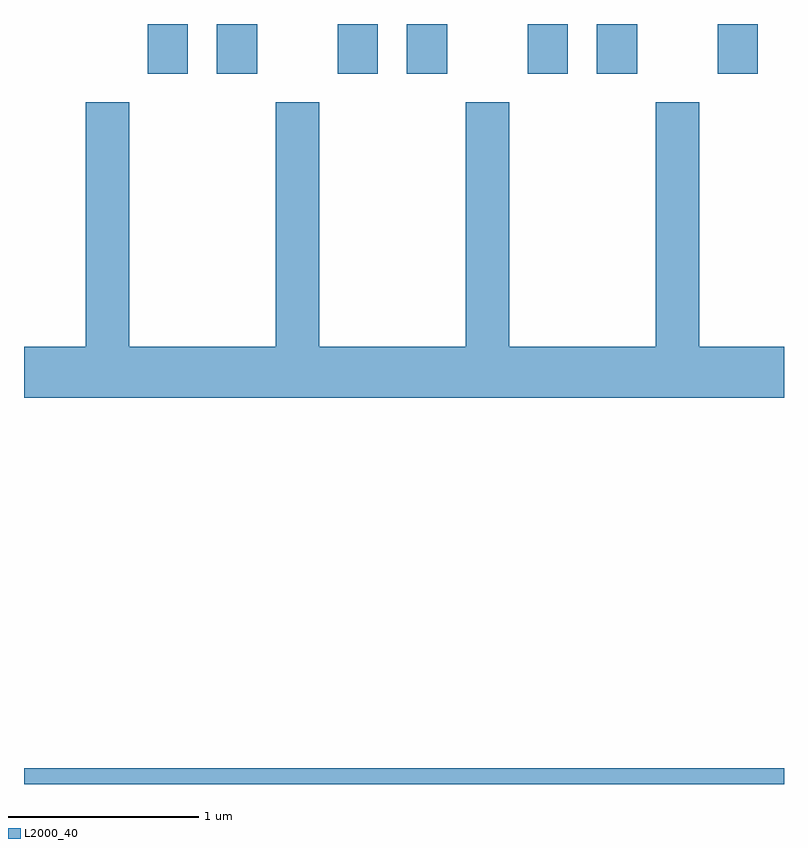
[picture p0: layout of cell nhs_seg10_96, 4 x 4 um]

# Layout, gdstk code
import gdstk
lib = gdstk.Library(unit=1e-6, precision=1e-09)
def R(c, l, rs):  # rectangles x0, y0, x1, y1
    for r in rs: c.add(gdstk.rectangle(r[:2], r[2:], *l))
def P(c, l, *ps):  # polygons
    for p in ps: c.add(gdstk.Polygon(p, *l))
L2000_40 = (2000, 40)

nhs_seg10_96 = lib.new_cell('nhs_seg10_96')
R(nhs_seg10_96, L2000_40, [(187.611,2138.522,191.611,2138.604), (188.261,2142.261,188.474,2142.522), (188.626,2142.261,188.839,2142.522), (189.261,2142.261,189.474,2142.522), (189.626,2142.261,189.839,2142.522), (190.261,2142.261,190.474,2142.522), (190.626,2142.261,190.839,2142.522), (191.261,2142.261,191.474,2142.522)])
P(nhs_seg10_96, L2000_40, [(191.611,2140.824),(191.164,2140.824),(191.164,2142.109),(190.936,2142.109),(190.936,2140.824),(190.164,2140.824),(190.164,2142.109),(189.936,2142.109),(189.936,2140.824),(189.164,2140.824),(189.164,2142.109),(188.936,2142.109),(188.936,2140.824),(188.164,2140.824),(188.164,2142.109),(187.936,2142.109),(187.936,2140.824),(187.611,2140.824),(187.611,2140.556),(191.611,2140.556)])

lib.write_gds('nhs_seg10_96.gds')
